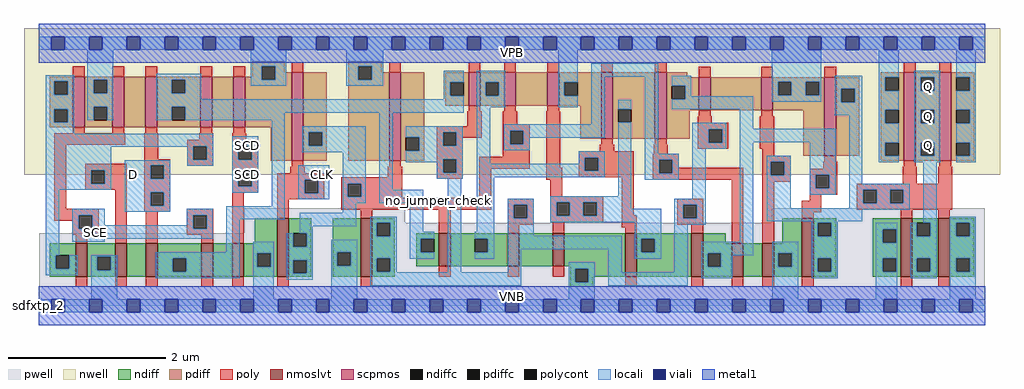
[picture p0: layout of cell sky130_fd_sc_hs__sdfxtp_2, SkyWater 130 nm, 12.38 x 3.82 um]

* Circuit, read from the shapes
.subckt sky130_fd_sc_hs__sdfxtp_2 CLK D SCD SCE VGND VNB VPB VPWR Q
XM1 VGND SCE n1 VNB sky130_fd_pr__nfet_01v8_lvt w=0.42 l=0.15
XM2 n2 n1 VGND VNB sky130_fd_pr__nfet_01v8_lvt w=0.42 l=0.15
XM3 n3 D n2 VNB sky130_fd_pr__nfet_01v8_lvt w=0.42 l=0.15
XM4 n4 SCE n3 VNB sky130_fd_pr__nfet_01v8_lvt w=0.42 l=0.15
XM5 VGND SCD n4 VNB sky130_fd_pr__nfet_01v8_lvt w=0.42 l=0.15
XM6 n5 CLK VGND VNB sky130_fd_pr__nfet_01v8_lvt w=0.74 l=0.15
XM7 n6 n5 VGND VNB sky130_fd_pr__nfet_01v8_lvt w=0.74 l=0.15
XM8 n7 n5 n3 VNB sky130_fd_pr__nfet_01v8_lvt w=0.42 l=0.15
XM9 n8 n6 n7 VNB sky130_fd_pr__nfet_01v8_lvt w=0.42 l=0.15
XM10 VGND n9 n8 VNB sky130_fd_pr__nfet_01v8_lvt w=0.42 l=0.15
XM11 n9 n7 VGND VNB sky130_fd_pr__nfet_01v8_lvt w=0.55 l=0.15
XM12 n10 n6 n9 VNB sky130_fd_pr__nfet_01v8_lvt w=0.55 l=0.15
XM13 n11 n5 n10 VNB sky130_fd_pr__nfet_01v8_lvt w=0.42 l=0.15
XM14 VGND n12 n11 VNB sky130_fd_pr__nfet_01v8_lvt w=0.42 l=0.15
XM15 n12 n10 VGND VNB sky130_fd_pr__nfet_01v8_lvt w=0.74 l=0.15
XM16 Q n12 VGND VNB sky130_fd_pr__nfet_01v8_lvt w=0.74 l=0.15 m=2
XM17 VPWR SCE n1 VPB sky130_fd_pr__pfet_01v8 w=0.64 l=0.15
XM18 n13 SCE VPWR VPB sky130_fd_pr__pfet_01v8 w=0.64 l=0.15
XM19 n3 D n13 VPB sky130_fd_pr__pfet_01v8 w=0.64 l=0.15
XM20 n14 n1 n3 VPB sky130_fd_pr__pfet_01v8 w=0.64 l=0.15
XM21 VPWR SCD n14 VPB sky130_fd_pr__pfet_01v8 w=0.64 l=0.15
XM22 n5 CLK VPWR VPB sky130_fd_pr__pfet_01v8 w=1.12 l=0.15
XM23 n6 n5 VPWR VPB sky130_fd_pr__pfet_01v8 w=1.12 l=0.15
XM24 n7 n6 n3 VPB sky130_fd_pr__pfet_01v8 w=0.42 l=0.15
XM25 n15 n5 n7 VPB sky130_fd_pr__pfet_01v8 w=0.42 l=0.15
XM26 VPWR n9 n15 VPB sky130_fd_pr__pfet_01v8 w=0.42 l=0.15
XM27 n9 n7 VPWR VPB sky130_fd_pr__pfet_01v8 w=0.84 l=0.15
XM28 n10 n5 n9 VPB sky130_fd_pr__pfet_01v8 w=0.84 l=0.15
XM29 n16 n6 n10 VPB sky130_fd_pr__pfet_01v8 w=0.42 l=0.15
XM30 VPWR n12 n16 VPB sky130_fd_pr__pfet_01v8 w=0.42 l=0.15
XM31 n12 n10 VPWR VPB sky130_fd_pr__pfet_01v8 w=1 l=0.15
XM32 Q n12 VPWR VPB sky130_fd_pr__pfet_01v8 w=1.12 l=0.15 m=2
.ends

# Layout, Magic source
magic
tech sky130A
magscale 1 2
<< nwell >>
rect -38 332 2438 704
<< pwell >>
rect 521 210 929 248
rect 1859 210 2399 248
rect 521 184 2399 210
rect 1 49 2399 184
rect 0 0 2400 49
<< scpmos >>
rect 86 453 116 581
rect 186 453 216 581
rect 270 453 300 581
rect 409 453 439 581
rect 493 453 523 581
rect 641 368 671 592
rect 888 368 918 592
rect 1090 508 1120 592
rect 1180 508 1210 592
rect 1290 508 1320 592
rect 1426 424 1456 592
rect 1562 424 1592 592
rect 1674 496 1704 580
rect 1832 496 1862 580
rect 1992 380 2022 580
rect 2194 368 2224 592
rect 2284 368 2314 592
<< nmoslvt >>
rect 93 74 123 158
rect 193 74 223 158
rect 271 74 301 158
rect 412 74 442 158
rect 490 74 520 158
rect 604 74 634 222
rect 816 74 846 222
rect 1014 100 1044 184
rect 1189 100 1219 184
rect 1303 100 1333 184
rect 1487 74 1517 184
rect 1655 74 1685 184
rect 1757 74 1787 158
rect 1835 74 1865 158
rect 1935 74 1965 222
rect 2186 74 2216 222
rect 2281 74 2311 222
<< ndiff >>
rect 547 158 604 222
rect 27 128 93 158
rect 27 94 43 128
rect 77 94 93 128
rect 27 74 93 94
rect 123 124 193 158
rect 123 90 148 124
rect 182 90 193 124
rect 123 74 193 90
rect 223 74 271 158
rect 301 120 412 158
rect 301 86 339 120
rect 373 86 412 120
rect 301 74 412 86
rect 442 74 490 158
rect 520 133 604 158
rect 520 99 554 133
rect 588 99 604 133
rect 520 74 604 99
rect 634 184 691 222
rect 634 150 645 184
rect 679 150 691 184
rect 634 116 691 150
rect 634 82 645 116
rect 679 82 691 116
rect 634 74 691 82
rect 745 136 816 222
rect 745 102 757 136
rect 791 102 816 136
rect 745 74 816 102
rect 846 210 903 222
rect 846 176 857 210
rect 891 176 903 210
rect 846 120 903 176
rect 846 86 857 120
rect 891 86 903 120
rect 957 170 1014 184
rect 957 136 969 170
rect 1003 136 1014 170
rect 957 100 1014 136
rect 1044 170 1189 184
rect 1044 136 1105 170
rect 1139 136 1189 170
rect 1044 100 1189 136
rect 1219 100 1303 184
rect 1333 100 1487 184
rect 846 74 903 86
rect 1348 94 1487 100
rect 1348 60 1360 94
rect 1394 74 1487 94
rect 1517 170 1655 184
rect 1517 136 1528 170
rect 1562 136 1655 170
rect 1517 74 1655 136
rect 1685 158 1742 184
rect 1885 158 1935 222
rect 1685 133 1757 158
rect 1685 99 1696 133
rect 1730 99 1757 133
rect 1685 74 1757 99
rect 1787 74 1835 158
rect 1865 133 1935 158
rect 1865 99 1876 133
rect 1910 99 1935 133
rect 1865 74 1935 99
rect 1965 210 2022 222
rect 1965 176 1976 210
rect 2010 176 2022 210
rect 1965 120 2022 176
rect 1965 86 1976 120
rect 2010 86 2022 120
rect 1965 74 2022 86
rect 2115 194 2186 222
rect 2115 160 2141 194
rect 2175 160 2186 194
rect 2115 120 2186 160
rect 2115 86 2141 120
rect 2175 86 2186 120
rect 2115 74 2186 86
rect 2216 210 2281 222
rect 2216 176 2227 210
rect 2261 176 2281 210
rect 2216 120 2281 176
rect 2216 86 2227 120
rect 2261 86 2281 120
rect 2216 74 2281 86
rect 2311 210 2373 222
rect 2311 176 2327 210
rect 2361 176 2373 210
rect 2311 120 2373 176
rect 2311 86 2327 120
rect 2361 86 2373 120
rect 2311 74 2373 86
rect 1394 60 1406 74
rect 1348 48 1406 60
<< pdiff >>
rect 541 608 623 620
rect 541 581 565 608
rect 27 569 86 581
rect 27 535 39 569
rect 73 535 86 569
rect 27 499 86 535
rect 27 465 39 499
rect 73 465 86 499
rect 27 453 86 465
rect 116 573 186 581
rect 116 539 139 573
rect 173 539 186 573
rect 116 505 186 539
rect 116 471 139 505
rect 173 471 186 505
rect 116 453 186 471
rect 216 453 270 581
rect 300 573 409 581
rect 300 539 337 573
rect 371 539 409 573
rect 300 505 409 539
rect 300 471 337 505
rect 371 471 409 505
rect 300 453 409 471
rect 439 453 493 581
rect 523 574 565 581
rect 599 592 623 608
rect 784 608 870 620
rect 599 574 641 592
rect 523 453 641 574
rect 588 368 641 453
rect 671 440 730 592
rect 671 406 684 440
rect 718 406 730 440
rect 671 368 730 406
rect 784 574 810 608
rect 844 592 870 608
rect 844 574 888 592
rect 784 368 888 574
rect 918 427 977 592
rect 1031 567 1090 592
rect 1031 533 1043 567
rect 1077 533 1090 567
rect 1031 508 1090 533
rect 1120 567 1180 592
rect 1120 533 1133 567
rect 1167 533 1180 567
rect 1120 508 1180 533
rect 1210 508 1290 592
rect 1320 567 1426 592
rect 1320 533 1333 567
rect 1367 533 1426 567
rect 1320 508 1426 533
rect 918 393 931 427
rect 965 393 977 427
rect 918 368 977 393
rect 1373 424 1426 508
rect 1456 499 1562 592
rect 1456 465 1469 499
rect 1503 465 1562 499
rect 1456 424 1562 465
rect 1592 580 1645 592
rect 2135 580 2194 592
rect 1592 558 1674 580
rect 1592 524 1605 558
rect 1639 524 1674 558
rect 1592 496 1674 524
rect 1704 496 1832 580
rect 1862 568 1992 580
rect 1862 534 1875 568
rect 1909 534 1945 568
rect 1979 534 1992 568
rect 1862 496 1992 534
rect 1592 424 1651 496
rect 1939 380 1992 496
rect 2022 550 2081 580
rect 2022 516 2035 550
rect 2069 516 2081 550
rect 2022 380 2081 516
rect 2135 546 2147 580
rect 2181 546 2194 580
rect 2135 497 2194 546
rect 2135 463 2147 497
rect 2181 463 2194 497
rect 2135 414 2194 463
rect 2135 380 2147 414
rect 2181 380 2194 414
rect 2135 368 2194 380
rect 2224 580 2284 592
rect 2224 546 2237 580
rect 2271 546 2284 580
rect 2224 497 2284 546
rect 2224 463 2237 497
rect 2271 463 2284 497
rect 2224 414 2284 463
rect 2224 380 2237 414
rect 2271 380 2284 414
rect 2224 368 2284 380
rect 2314 580 2373 592
rect 2314 546 2327 580
rect 2361 546 2373 580
rect 2314 497 2373 546
rect 2314 463 2327 497
rect 2361 463 2373 497
rect 2314 414 2373 463
rect 2314 380 2327 414
rect 2361 380 2373 414
rect 2314 368 2373 380
<< ndiffc >>
rect 43 94 77 128
rect 148 90 182 124
rect 339 86 373 120
rect 554 99 588 133
rect 645 150 679 184
rect 645 82 679 116
rect 757 102 791 136
rect 857 176 891 210
rect 857 86 891 120
rect 969 136 1003 170
rect 1105 136 1139 170
rect 1360 60 1394 94
rect 1528 136 1562 170
rect 1696 99 1730 133
rect 1876 99 1910 133
rect 1976 176 2010 210
rect 1976 86 2010 120
rect 2141 160 2175 194
rect 2141 86 2175 120
rect 2227 176 2261 210
rect 2227 86 2261 120
rect 2327 176 2361 210
rect 2327 86 2361 120
<< pdiffc >>
rect 39 535 73 569
rect 39 465 73 499
rect 139 539 173 573
rect 139 471 173 505
rect 337 539 371 573
rect 337 471 371 505
rect 565 574 599 608
rect 684 406 718 440
rect 810 574 844 608
rect 1043 533 1077 567
rect 1133 533 1167 567
rect 1333 533 1367 567
rect 931 393 965 427
rect 1469 465 1503 499
rect 1605 524 1639 558
rect 1875 534 1909 568
rect 1945 534 1979 568
rect 2035 516 2069 550
rect 2147 546 2181 580
rect 2147 463 2181 497
rect 2147 380 2181 414
rect 2237 546 2271 580
rect 2237 463 2271 497
rect 2237 380 2271 414
rect 2327 546 2361 580
rect 2327 463 2361 497
rect 2327 380 2361 414
<< poly >>
rect 86 581 116 607
rect 186 581 216 607
rect 270 581 300 607
rect 409 581 439 607
rect 493 581 523 607
rect 641 592 671 618
rect 86 438 116 453
rect 186 438 216 453
rect 270 438 300 453
rect 409 438 439 453
rect 493 438 523 453
rect 39 408 219 438
rect 39 246 69 408
rect 267 372 303 438
rect 406 421 442 438
rect 376 405 442 421
rect 117 344 223 360
rect 117 310 133 344
rect 167 310 223 344
rect 117 294 223 310
rect 39 230 151 246
rect 39 216 101 230
rect 85 196 101 216
rect 135 196 151 230
rect 85 180 151 196
rect 93 158 123 180
rect 193 158 223 294
rect 267 356 333 372
rect 267 322 283 356
rect 317 322 333 356
rect 376 371 392 405
rect 426 371 442 405
rect 376 355 442 371
rect 490 421 526 438
rect 490 405 556 421
rect 490 371 506 405
rect 540 371 556 405
rect 267 288 333 322
rect 267 254 283 288
rect 317 254 333 288
rect 267 238 333 254
rect 490 337 556 371
rect 888 592 918 618
rect 1090 592 1120 618
rect 1180 592 1210 618
rect 1290 592 1320 618
rect 1426 592 1456 618
rect 1562 592 1592 618
rect 1090 493 1120 508
rect 1180 493 1210 508
rect 1290 493 1320 508
rect 1087 456 1123 493
rect 1009 440 1123 456
rect 1009 406 1025 440
rect 1059 426 1123 440
rect 1177 460 1213 493
rect 1177 444 1245 460
rect 1059 406 1075 426
rect 1009 372 1075 406
rect 1177 410 1195 444
rect 1229 410 1245 444
rect 1177 378 1245 410
rect 641 353 671 368
rect 888 353 918 368
rect 490 303 506 337
rect 540 303 556 337
rect 638 336 674 353
rect 490 287 556 303
rect 604 320 724 336
rect 885 326 921 353
rect 271 158 301 238
rect 375 230 442 246
rect 375 196 391 230
rect 425 196 442 230
rect 375 180 442 196
rect 412 158 442 180
rect 490 158 520 287
rect 604 286 674 320
rect 708 286 724 320
rect 604 270 724 286
rect 767 310 921 326
rect 1009 338 1025 372
rect 1059 338 1075 372
rect 1009 322 1075 338
rect 1117 348 1245 378
rect 1287 350 1323 493
rect 1674 580 1704 606
rect 1832 580 1862 606
rect 1992 580 2022 606
rect 2194 592 2224 618
rect 2284 592 2314 618
rect 1674 481 1704 496
rect 1832 481 1862 496
rect 1671 464 1707 481
rect 1671 448 1749 464
rect 1426 409 1456 424
rect 1562 409 1592 424
rect 1671 414 1699 448
rect 1733 414 1749 448
rect 1423 392 1459 409
rect 1369 376 1509 392
rect 1559 386 1595 409
rect 1671 398 1749 414
rect 1829 398 1865 481
rect 767 276 783 310
rect 817 276 921 310
rect 767 274 921 276
rect 1117 274 1147 348
rect 1287 320 1327 350
rect 1369 342 1385 376
rect 1419 342 1509 376
rect 1369 326 1509 342
rect 604 222 634 270
rect 767 244 1147 274
rect 1297 278 1327 320
rect 1189 256 1255 272
rect 816 222 846 244
rect 1014 184 1044 244
rect 1189 222 1205 256
rect 1239 222 1255 256
rect 1189 206 1255 222
rect 1297 262 1431 278
rect 1297 228 1313 262
rect 1347 228 1381 262
rect 1415 228 1431 262
rect 1297 212 1431 228
rect 1479 229 1509 326
rect 1557 370 1623 386
rect 1557 336 1573 370
rect 1607 350 1623 370
rect 1835 381 1865 398
rect 1835 365 1907 381
rect 1992 365 2022 380
rect 1607 336 1787 350
rect 1557 320 1787 336
rect 1619 256 1685 272
rect 1189 184 1219 206
rect 1303 184 1333 212
rect 1479 199 1517 229
rect 1619 222 1635 256
rect 1669 222 1685 256
rect 1619 206 1685 222
rect 1487 184 1517 199
rect 1655 184 1685 206
rect 1014 74 1044 100
rect 1189 74 1219 100
rect 1303 74 1333 100
rect 93 48 123 74
rect 193 48 223 74
rect 271 48 301 74
rect 412 48 442 74
rect 490 48 520 74
rect 604 48 634 74
rect 816 48 846 74
rect 1757 158 1787 320
rect 1835 331 1857 365
rect 1891 331 1907 365
rect 1989 348 2025 365
rect 2194 353 2224 368
rect 2284 353 2314 368
rect 1835 315 1907 331
rect 1955 332 2025 348
rect 1835 158 1865 315
rect 1955 298 1971 332
rect 2005 298 2025 332
rect 2191 310 2227 353
rect 2281 310 2317 353
rect 1955 282 2025 298
rect 2075 294 2317 310
rect 1955 267 1985 282
rect 1935 237 1985 267
rect 2075 260 2091 294
rect 2125 260 2159 294
rect 2193 260 2317 294
rect 2075 244 2317 260
rect 1935 222 1965 237
rect 2186 222 2216 244
rect 2281 222 2311 244
rect 1487 48 1517 74
rect 1655 48 1685 74
rect 1757 48 1787 74
rect 1835 48 1865 74
rect 1935 48 1965 74
rect 2186 48 2216 74
rect 2281 48 2311 74
<< polycont >>
rect 133 310 167 344
rect 101 196 135 230
rect 283 322 317 356
rect 392 371 426 405
rect 506 371 540 405
rect 283 254 317 288
rect 1025 406 1059 440
rect 1195 410 1229 444
rect 506 303 540 337
rect 391 196 425 230
rect 674 286 708 320
rect 1025 338 1059 372
rect 1699 414 1733 448
rect 783 276 817 310
rect 1385 342 1419 376
rect 1205 222 1239 256
rect 1313 228 1347 262
rect 1381 228 1415 262
rect 1573 336 1607 370
rect 1635 222 1669 256
rect 1857 331 1891 365
rect 1971 298 2005 332
rect 2091 260 2125 294
rect 2159 260 2193 294
<< locali >>
rect 0 649 31 683
rect 65 649 127 683
rect 161 649 223 683
rect 257 649 319 683
rect 353 649 415 683
rect 449 649 511 683
rect 545 649 607 683
rect 641 649 703 683
rect 737 649 799 683
rect 833 649 895 683
rect 929 649 991 683
rect 1025 649 1087 683
rect 1121 649 1183 683
rect 1217 649 1279 683
rect 1313 649 1375 683
rect 1409 649 1471 683
rect 1505 649 1567 683
rect 1601 649 1663 683
rect 1697 649 1759 683
rect 1793 649 1855 683
rect 1889 649 1951 683
rect 1985 649 2047 683
rect 2081 649 2143 683
rect 2177 649 2239 683
rect 2273 649 2335 683
rect 2369 649 2400 683
rect 17 569 89 585
rect 17 535 39 569
rect 73 535 89 569
rect 17 499 89 535
rect 17 465 39 499
rect 73 465 89 499
rect 123 573 189 649
rect 537 608 627 649
rect 123 539 139 573
rect 173 539 189 573
rect 123 505 189 539
rect 123 471 139 505
rect 173 471 189 505
rect 297 573 412 589
rect 297 539 337 573
rect 371 539 412 573
rect 537 574 565 608
rect 599 574 627 608
rect 537 558 627 574
rect 780 608 874 649
rect 780 574 810 608
rect 844 574 874 608
rect 780 558 874 574
rect 1027 567 1077 596
rect 297 524 412 539
rect 1027 533 1043 567
rect 1027 524 1077 533
rect 297 505 1077 524
rect 297 471 337 505
rect 371 490 1077 505
rect 1111 567 1183 596
rect 1111 533 1133 567
rect 1167 533 1183 567
rect 1111 504 1183 533
rect 1317 567 1367 649
rect 1317 533 1333 567
rect 1317 504 1367 533
rect 1401 581 1571 615
rect 371 471 624 490
rect 17 437 89 465
rect 17 405 442 437
rect 17 403 392 405
rect 17 344 183 403
rect 376 371 392 403
rect 426 371 442 405
rect 17 310 133 344
rect 167 310 183 344
rect 17 294 183 310
rect 217 356 333 369
rect 217 322 283 356
rect 317 322 333 356
rect 376 355 442 371
rect 490 405 556 430
rect 490 371 506 405
rect 540 371 556 405
rect 17 128 51 294
rect 217 288 333 322
rect 217 254 283 288
rect 317 254 333 288
rect 490 337 556 371
rect 490 303 506 337
rect 540 303 556 337
rect 490 287 556 303
rect 85 230 167 246
rect 217 238 333 254
rect 590 253 624 471
rect 668 440 829 456
rect 668 406 684 440
rect 718 406 829 440
rect 668 390 829 406
rect 658 320 737 356
rect 658 286 674 320
rect 708 286 737 320
rect 658 270 737 286
rect 771 310 829 390
rect 771 276 783 310
rect 817 276 829 310
rect 85 196 101 230
rect 135 204 167 230
rect 375 230 441 246
rect 375 204 391 230
rect 135 196 391 204
rect 425 196 441 230
rect 85 170 441 196
rect 475 219 624 253
rect 771 260 829 276
rect 863 294 897 490
rect 931 440 1075 456
rect 931 427 1025 440
rect 965 406 1025 427
rect 1059 406 1075 440
rect 965 393 1075 406
rect 931 372 1075 393
rect 931 364 1025 372
rect 1009 338 1025 364
rect 1059 338 1075 372
rect 1009 322 1075 338
rect 1111 360 1145 504
rect 1401 460 1435 581
rect 1179 444 1435 460
rect 1179 410 1195 444
rect 1229 426 1435 444
rect 1469 499 1503 522
rect 1229 410 1245 426
rect 1179 394 1245 410
rect 1369 376 1435 392
rect 1369 360 1385 376
rect 1111 342 1385 360
rect 1419 342 1435 376
rect 1111 326 1435 342
rect 863 260 975 294
rect 771 236 805 260
rect 85 162 167 170
rect 475 136 509 219
rect 661 202 805 236
rect 841 210 907 226
rect 661 184 695 202
rect 17 94 43 128
rect 77 94 98 128
rect 17 78 98 94
rect 132 124 198 128
rect 132 90 148 124
rect 182 90 198 124
rect 132 17 198 90
rect 296 120 509 136
rect 296 86 339 120
rect 373 86 509 120
rect 296 70 509 86
rect 543 133 595 162
rect 543 99 554 133
rect 588 99 595 133
rect 543 17 595 99
rect 629 150 645 184
rect 679 150 695 184
rect 841 176 857 210
rect 891 176 907 210
rect 629 116 695 150
rect 629 82 645 116
rect 679 82 695 116
rect 629 66 695 82
rect 741 136 807 168
rect 741 102 757 136
rect 791 102 807 136
rect 741 17 807 102
rect 841 120 907 176
rect 841 86 857 120
rect 891 86 907 120
rect 941 188 975 260
rect 941 170 1003 188
rect 941 136 969 170
rect 941 119 1003 136
rect 841 85 907 86
rect 1037 85 1071 322
rect 1111 188 1155 326
rect 1469 278 1503 465
rect 1537 386 1571 581
rect 1605 558 1655 584
rect 1639 532 1655 558
rect 1859 568 1985 649
rect 1859 534 1875 568
rect 1909 534 1945 568
rect 1979 534 1985 568
rect 1639 524 1812 532
rect 1605 498 1812 524
rect 1859 518 1985 534
rect 2019 550 2089 584
rect 1657 448 1744 464
rect 1657 414 1699 448
rect 1733 414 1744 448
rect 1657 398 1744 414
rect 1778 449 1812 498
rect 2019 516 2035 550
rect 2069 516 2089 550
rect 2019 483 2089 516
rect 1778 415 2021 449
rect 1537 370 1623 386
rect 1537 336 1573 370
rect 1607 336 1623 370
rect 1537 320 1623 336
rect 1105 170 1155 188
rect 1139 136 1155 170
rect 1105 119 1155 136
rect 1189 256 1255 272
rect 1189 222 1205 256
rect 1239 222 1255 256
rect 1189 178 1255 222
rect 1297 262 1503 278
rect 1657 272 1691 398
rect 1297 228 1313 262
rect 1347 228 1381 262
rect 1415 246 1503 262
rect 1612 256 1691 272
rect 1415 228 1578 246
rect 1297 212 1578 228
rect 1189 144 1478 178
rect 1189 85 1223 144
rect 841 51 1223 85
rect 1344 94 1410 110
rect 1344 60 1360 94
rect 1394 60 1410 94
rect 1344 17 1410 60
rect 1444 85 1478 144
rect 1512 170 1578 212
rect 1512 136 1528 170
rect 1562 136 1578 170
rect 1512 119 1578 136
rect 1612 222 1635 256
rect 1669 222 1691 256
rect 1612 206 1691 222
rect 1612 85 1646 206
rect 1778 162 1812 415
rect 1846 365 1907 381
rect 1846 331 1857 365
rect 1891 331 1907 365
rect 1846 248 1907 331
rect 1955 332 2021 415
rect 1955 298 1971 332
rect 2005 298 2021 332
rect 1955 282 2021 298
rect 2055 310 2089 483
rect 2131 580 2181 649
rect 2131 546 2147 580
rect 2131 497 2181 546
rect 2131 463 2147 497
rect 2131 414 2181 463
rect 2131 380 2147 414
rect 2131 364 2181 380
rect 2221 580 2287 596
rect 2221 546 2237 580
rect 2271 546 2287 580
rect 2221 497 2287 546
rect 2221 463 2237 497
rect 2271 463 2287 497
rect 2221 414 2287 463
rect 2221 380 2237 414
rect 2271 380 2287 414
rect 2221 364 2287 380
rect 2327 580 2377 649
rect 2361 546 2377 580
rect 2327 497 2377 546
rect 2361 463 2377 497
rect 2327 414 2377 463
rect 2361 380 2377 414
rect 2327 364 2377 380
rect 2055 294 2209 310
rect 2055 260 2091 294
rect 2125 260 2159 294
rect 2193 260 2209 294
rect 2055 248 2209 260
rect 1846 244 2209 248
rect 1846 214 2089 244
rect 1960 210 2026 214
rect 2243 210 2277 364
rect 1960 176 1976 210
rect 2010 176 2026 210
rect 1444 51 1646 85
rect 1680 133 1812 162
rect 1680 99 1696 133
rect 1730 128 1812 133
rect 1860 133 1926 162
rect 1730 99 1759 128
rect 1680 70 1759 99
rect 1860 99 1876 133
rect 1910 99 1926 133
rect 1860 17 1926 99
rect 1960 120 2026 176
rect 1960 86 1976 120
rect 2010 86 2026 120
rect 1960 70 2026 86
rect 2123 194 2177 210
rect 2123 160 2141 194
rect 2175 160 2177 194
rect 2123 120 2177 160
rect 2123 86 2141 120
rect 2175 86 2177 120
rect 2123 17 2177 86
rect 2211 176 2227 210
rect 2261 176 2277 210
rect 2211 120 2277 176
rect 2211 86 2227 120
rect 2261 86 2277 120
rect 2211 70 2277 86
rect 2311 210 2377 226
rect 2311 176 2327 210
rect 2361 176 2377 210
rect 2311 120 2377 176
rect 2311 86 2327 120
rect 2361 86 2377 120
rect 2311 17 2377 86
rect 0 -17 31 17
rect 65 -17 127 17
rect 161 -17 223 17
rect 257 -17 319 17
rect 353 -17 415 17
rect 449 -17 511 17
rect 545 -17 607 17
rect 641 -17 703 17
rect 737 -17 799 17
rect 833 -17 895 17
rect 929 -17 991 17
rect 1025 -17 1087 17
rect 1121 -17 1183 17
rect 1217 -17 1279 17
rect 1313 -17 1375 17
rect 1409 -17 1471 17
rect 1505 -17 1567 17
rect 1601 -17 1663 17
rect 1697 -17 1759 17
rect 1793 -17 1855 17
rect 1889 -17 1951 17
rect 1985 -17 2047 17
rect 2081 -17 2143 17
rect 2177 -17 2239 17
rect 2273 -17 2335 17
rect 2369 -17 2400 17
<< viali >>
rect 31 649 65 683
rect 127 649 161 683
rect 223 649 257 683
rect 319 649 353 683
rect 415 649 449 683
rect 511 649 545 683
rect 607 649 641 683
rect 703 649 737 683
rect 799 649 833 683
rect 895 649 929 683
rect 991 649 1025 683
rect 1087 649 1121 683
rect 1183 649 1217 683
rect 1279 649 1313 683
rect 1375 649 1409 683
rect 1471 649 1505 683
rect 1567 649 1601 683
rect 1663 649 1697 683
rect 1759 649 1793 683
rect 1855 649 1889 683
rect 1951 649 1985 683
rect 2047 649 2081 683
rect 2143 649 2177 683
rect 2239 649 2273 683
rect 2335 649 2369 683
rect 31 -17 65 17
rect 127 -17 161 17
rect 223 -17 257 17
rect 319 -17 353 17
rect 415 -17 449 17
rect 511 -17 545 17
rect 607 -17 641 17
rect 703 -17 737 17
rect 799 -17 833 17
rect 895 -17 929 17
rect 991 -17 1025 17
rect 1087 -17 1121 17
rect 1183 -17 1217 17
rect 1279 -17 1313 17
rect 1375 -17 1409 17
rect 1471 -17 1505 17
rect 1567 -17 1601 17
rect 1663 -17 1697 17
rect 1759 -17 1793 17
rect 1855 -17 1889 17
rect 1951 -17 1985 17
rect 2047 -17 2081 17
rect 2143 -17 2177 17
rect 2239 -17 2273 17
rect 2335 -17 2369 17
<< metal1 >>
rect 0 683 2400 715
rect 0 649 31 683
rect 65 649 127 683
rect 161 649 223 683
rect 257 649 319 683
rect 353 649 415 683
rect 449 649 511 683
rect 545 649 607 683
rect 641 649 703 683
rect 737 649 799 683
rect 833 649 895 683
rect 929 649 991 683
rect 1025 649 1087 683
rect 1121 649 1183 683
rect 1217 649 1279 683
rect 1313 649 1375 683
rect 1409 649 1471 683
rect 1505 649 1567 683
rect 1601 649 1663 683
rect 1697 649 1759 683
rect 1793 649 1855 683
rect 1889 649 1951 683
rect 1985 649 2047 683
rect 2081 649 2143 683
rect 2177 649 2239 683
rect 2273 649 2335 683
rect 2369 649 2400 683
rect 0 617 2400 649
rect 0 17 2400 49
rect 0 -17 31 17
rect 65 -17 127 17
rect 161 -17 223 17
rect 257 -17 319 17
rect 353 -17 415 17
rect 449 -17 511 17
rect 545 -17 607 17
rect 641 -17 703 17
rect 737 -17 799 17
rect 833 -17 895 17
rect 929 -17 991 17
rect 1025 -17 1087 17
rect 1121 -17 1183 17
rect 1217 -17 1279 17
rect 1313 -17 1375 17
rect 1409 -17 1471 17
rect 1505 -17 1567 17
rect 1601 -17 1663 17
rect 1697 -17 1759 17
rect 1793 -17 1855 17
rect 1889 -17 1951 17
rect 1985 -17 2047 17
rect 2081 -17 2143 17
rect 2177 -17 2239 17
rect 2273 -17 2335 17
rect 2369 -17 2400 17
rect 0 -49 2400 -17
<< labels >>
rlabel comment s 0 0 0 0 4 sdfxtp_2
flabel comment s 1013 268 1013 268 0 FreeSans 200 0 0 0 no_jumper_check
flabel pwell s 0 0 2400 49 0 FreeSans 200 0 0 0 VNB
port 6 nsew ground bidirectional
flabel nwell s 0 617 2400 666 0 FreeSans 200 0 0 0 VPB
port 7 nsew power bidirectional
flabel metal1 s 0 617 2400 666 0 FreeSans 340 0 0 0 VPWR
port 8 nsew power bidirectional
flabel metal1 s 0 0 2400 49 0 FreeSans 340 0 0 0 VGND
port 5 nsew ground bidirectional
flabel locali s 127 168 161 202 0 FreeSans 340 0 0 0 SCE
port 4 nsew signal input
flabel locali s 703 316 737 350 0 FreeSans 340 0 0 0 CLK
port 1 nsew clock input
flabel locali s 223 316 257 350 0 FreeSans 340 0 0 0 D
port 2 nsew signal input
flabel locali s 511 316 545 350 0 FreeSans 340 0 0 0 SCD
port 3 nsew signal input
flabel locali s 511 390 545 424 0 FreeSans 340 0 0 0 SCD
port 3 nsew signal input
flabel locali s 2239 390 2273 424 0 FreeSans 340 0 0 0 Q
port 9 nsew signal output
flabel locali s 2239 464 2273 498 0 FreeSans 340 0 0 0 Q
port 9 nsew signal output
flabel locali s 2239 538 2273 572 0 FreeSans 340 0 0 0 Q
port 9 nsew signal output
<< properties >>
string LEFsite unit
string LEFclass CORE
string FIXED_BBOX 0 0 2400 666
string GDS_FILE $PDKPATH/libs.ref/sky130_fd_sc_hs/gds/sky130_fd_sc_hs.gds
string LEFsymmetry X Y
string GDS_END 2225510
string GDS_START 2208468
<< end >>
